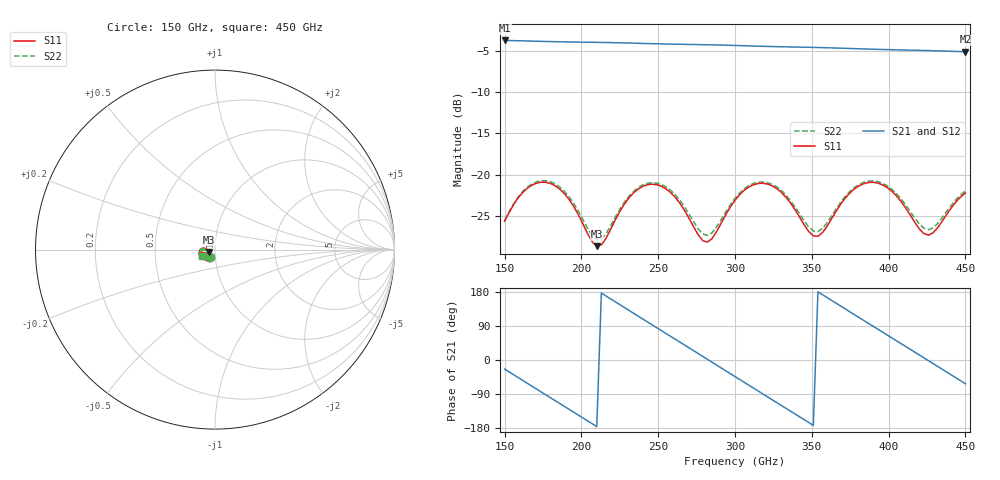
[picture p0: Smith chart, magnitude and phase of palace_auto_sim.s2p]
#  GHZ S DB R 50
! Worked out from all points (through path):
!   101 points, 150 GHz to 450 GHz, reference 50 ohm
!   highest |S21| = -3.68 dB at 150 GHz (marker M1); lowest = -5.1 dB at 450 GHz (marker M2)
!   group delay of S21, straight-line fit = 7.02 ps
!   lowest |S11| = -28.7 dB at 210 GHz (marker M3), VSWR 1.08, Z = 46.7 - j1.17 ohm
!   |S11| at or under -10 dB: start of sweep to end of sweep
!   |S22| runs from -27.9 to -20.8 dB; largest |S21 - S12| = 1.1e-13
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150  -25.68 -126.5  -3.68 -23.9  -3.68 -23.9  -25.61 -124.9
162  -22.15 -133.7  -3.74 -54.4  -3.74 -54.4  -22.02 -131.9
174  -20.93 -151.7  -3.80 -84.8  -3.80 -84.8  -20.76 -149.6
186  -21.79 -170.2  -3.85 -115.1  -3.85 -115.1  -21.54 -167.7
201  -26.02 -179.8  -3.89 -153.0  -3.89 -153.0  -25.48 -177.0
210  -28.72 -160.0  -3.92 -175.8  -3.92 -175.8  -27.95 -159.4
222  -25.55 -133.7  -3.96 153.8  -3.96 153.8  -25.22 -134.7
234  -22.23 -141.4  -4.01 123.3  -4.01 123.3  -22.05 -141.3
252  -21.42 -167.2  -4.10 77.8  -4.10 77.8  -21.21 -165.7
276  -27.33 -175.5  -4.19 17.1  -4.19 17.1  -26.60 -173.6
285  -27.81 -149.8  -4.22 -5.7  -4.22 -5.7  -27.11 -151.1
300  -23.13 -140.5  -4.29 -43.7  -4.29 -43.7  -22.90 -141.6
312  -21.24 -154.4  -4.36 -74.1  -4.36 -74.1  -21.08 -154.5
324  -21.36 -171.2  -4.43 -104.4  -4.43 -104.4  -21.18 -170.3
339  -24.26 175.8  -4.49 -142.2  -4.49 -142.2  -23.92 177.5
351  -27.47 -168.8  -4.53 -172.6  -4.53 -172.6  -26.87 -168.2
363  -25.35 -144.4  -4.59 157.0  -4.59 157.0  -25.00 -145.4
378  -21.72 -151.5  -4.68 119.1  -4.68 119.1  -21.54 -151.6
390  -20.95 -167.1  -4.75 88.9  -4.75 88.9  -20.78 -166.3
402  -22.02 178.0  -4.81 58.7  -4.81 58.7  -21.78 179.6
426  -27.37 -167.1  -4.92 -1.9  -4.92 -1.9  -26.71 -167.0
450  -22.25 -155.0  -5.06 -62.5  -5.06 -62.5  -22.01 -155.1
